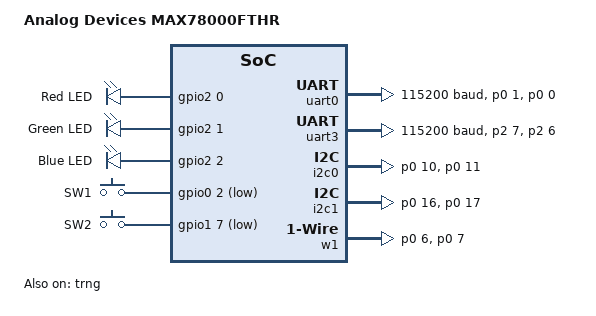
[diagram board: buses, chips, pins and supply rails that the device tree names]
/*
 * Copyright (c) 2025-2026 Analog Devices, Inc.
 *
 * SPDX-License-Identifier: Apache-2.0
 */

#include <adi/max32/max78000-pinctrl.dtsi>
#include <zephyr/dt-bindings/gpio/adi-max32-gpio.h>
#include <zephyr/dt-bindings/input/input-event-codes.h>

/ {
	model = "Analog Devices MAX78000FTHR";
	compatible = "adi,max78000fthr";

	soc {
		/*
		 * Concatenate SRAM0 and SRAM1 for the M4.
		 */
		m4_sram: memory@20000000 {
			compatible = "mmio-sram";
			reg = <0x20000000 DT_SIZE_K(32 + 32)>;
		};

		/*
		 * Concatenate SRAM2 and SRAM3 for the RV32
		 * Note: SRAM3 cannot be used once ICC1 is enabled
		 */
		rv32_sram: memory@20010000 {
			compatible = "mmio-sram";
			reg = <0x20010000 DT_SIZE_K(48 + 16)>;
		};
	};

	leds {
		compatible = "gpio-leds";

		led1: led_1 {
			gpios = <&gpio2 0 GPIO_ACTIVE_HIGH>;
			label = "Red LED";
		};

		led2: led_2 {
			gpios = <&gpio2 1 GPIO_ACTIVE_HIGH>;
			label = "Green LED";
		};

		led3: led_3 {
			gpios = <&gpio2 2 GPIO_ACTIVE_HIGH>;
			label = "Blue LED";
		};
	};

	buttons {
		compatible = "gpio-keys";

		pb1: pb1 {
			gpios = <&gpio0 2 (GPIO_PULL_UP | GPIO_ACTIVE_LOW)>;
			label = "SW1";
			zephyr,code = <INPUT_KEY_0>;
		};

		pb2: pb2 {
			gpios = <&gpio1 7 (GPIO_PULL_UP | GPIO_ACTIVE_LOW)>;
			label = "SW2";
			zephyr,code = <INPUT_KEY_1>;
		};
	};

	/* These aliases are provided for compatibility with samples */
	aliases {
		led0 = &led1;
		led1 = &led2;
		sw0 = &pb1;
		sw1 = &pb2;
		watchdog0 = &wdt0;
	};
};

cmsis_serial: &uart0 {
	pinctrl-0 = <&uart0a_tx_p0_1 &uart0a_rx_p0_0>;
	pinctrl-names = "default";
	current-speed = <115200>;
	data-bits = <8>;
	parity = "none";
};

&gpio0 {
	status = "okay";
};

&gpio1 {
	status = "okay";
};

&gpio2 {
	status = "okay";
};

&gpio3 {
	status = "okay";
};

&trng {
	status = "okay";
};

feather_serial: &uart3 {
	clock-source = <ADI_MAX32_PRPH_CLK_SRC_IBRO>;
	pinctrl-0 = <&lpuartb_tx_p2_7 &lpuartb_rx_p2_6>;
	pinctrl-names = "default";
	current-speed = <115200>;
	data-bits = <8>;
	parity = "none";
};

&i2c0 {
	status = "okay";
	pinctrl-0 = <&i2c0_scl_p0_10 &i2c0_sda_p0_11>;
	pinctrl-names = "default";
};

feather_i2c: &i2c1 {
	status = "okay";
	pinctrl-0 = <&i2c1_scl_p0_16 &i2c1_sda_p0_17>;
	pinctrl-names = "default";
};

&w1 {
	pinctrl-0 = <&owm_io_p0_6 &owm_pe_p0_7>;
	pinctrl-names = "default";
};

&flash0 {
	partitions {
		#address-cells = <1>;
		#size-cells = <1>;
		ranges;

		m4_partition: partition@0 {
			compatible = "zephyr,mapped-partition";
			label = "image-m4";
			reg = <0x0 DT_SIZE_K(224)>;
		};

		m4_storage_partition: partition@38000 {
			compatible = "zephyr,mapped-partition";
			label = "storage-m4";
			reg = <0x38000 DT_SIZE_K(32)>;
		};

		rv32_partition: partition@40000 {
			compatible = "zephyr,mapped-partition";
			label = "image-rv32";
			reg = <0x40000 DT_SIZE_K(64)>;
		};

		rv32_storage_partition: partition@50000 {
			compatible = "zephyr,mapped-partition";
			label = "storage-rv32";
			reg = <0x50000 DT_SIZE_K(32)>;
		};
	};
};
